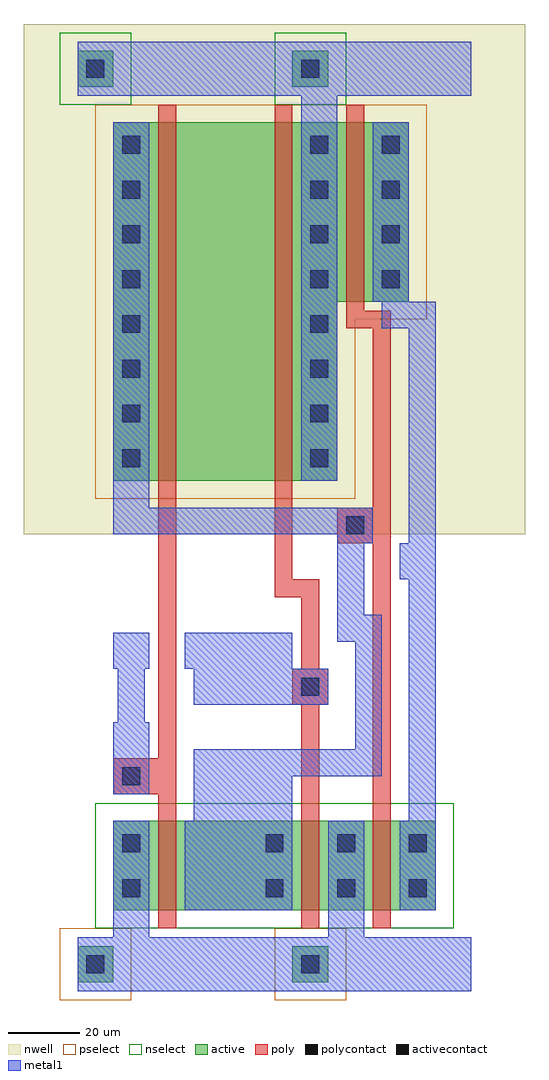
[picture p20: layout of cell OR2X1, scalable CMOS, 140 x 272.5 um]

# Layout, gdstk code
import gdstk
lib = gdstk.Library(unit=1e-6, precision=1e-09)
def R(c, l, rs):  # rectangles x0, y0, x1, y1
    for r in rs: c.add(gdstk.rectangle(r[:2], r[2:], *l))
def A(c, l, x, y, w, h, nx, ny, dx, dy):  # array of equal rectangles
    R(c, l, [(x+i*dx, y+j*dy, x+i*dx+w, y+j*dy+h) for i in range(nx) for j in range(ny)])
nwell = (42, 0)
active = (43, 0)
pselect = (44, 0)
nselect = (45, 0)
poly = (46, 0)
polycontact = (47, 0)
activecontact = (48, 0)
metal1 = (49, 0)

or2x1 = lib.new_cell('OR2X1')
R(or2x1, nwell, [(-20,120,120,262.5)])
R(or2x1, active, [(-5,-5,5,5), (55,-5,65,5), (5,15,95,40), (5,135,67.5,185), (5,185,87.5,235), (-5,245,5,255), (55,245,65,255)])
R(or2x1, pselect, [(-10,-10,10,10), (50,-10,70,10), (0,130,72.5,180), (0,180,92.5,240)])
R(or2x1, nselect, [(0,10,100,45), (-10,240,10,260), (50,240,70,260)])
R(or2x1, poly, [(17.5,10,22.5,47.5), (57.5,10,62.5,72.5), (77.5,10,82.5,117.5), (5,47.5,22.5,57.5), (17.5,57.5,22.5,240), (55,72.5,65,82.5), (57.5,82.5,62.5,102.5), (50,102.5,62.5,107.5), (50,107.5,55,240), (67.5,117.5,82.5,127.5), (77.5,127.5,82.5,177.5), (70,177.5,82.5,182.5), (70,182.5,75,240)])
R(or2x1, polycontact, [(7.5,50,12.5,55), (57.5,75,62.5,80), (70,120,75,125)])
A(or2x1, activecontact, 47.5, 18.75, 5, 5, 3, 2, 20, 12.5)
A(or2x1, activecontact, 7.5, 138.75, 5, 5, 1, 8, 0, 12.5)
A(or2x1, activecontact, 60, 138.75, 5, 5, 1, 8, 0, 12.5)
A(or2x1, activecontact, 80, 188.75, 5, 5, 1, 4, 0, 12.5)
R(or2x1, activecontact, [(-2.5,-2.5,2.5,2.5), (57.5,-2.5,62.5,2.5), (7.5,18.75,12.5,23.75), (7.5,31.25,12.5,36.25), (-2.5,247.5,2.5,252.5), (57.5,247.5,62.5,252.5)])
R(or2x1, metal1, [(-5,-7.5,105,7.5), (5,7.5,15,40), (65,7.5,75,40), (25,15,55,40), (85,15,95,40), (27.5,40,55,52.5), (87.5,40,95,107.5), (5,47.5,15,67.5), (27.5,52.5,80,60), (6.25,58.75,13.75,91.25), (72.5,60,80,90), (27.5,72.5,65,82.5), (5,82.5,15,92.5), (25,82.5,55,92.5), (67.5,90,80,97.5), (67.5,97.5,75,117.5), (85,107.5,95,117.5), (67.5,117.5,77.5,120), (87.5,117.5,95,177.5), (5,120,77.5,127.5), (5,127.5,15,235), (57.5,135,67.5,242.5), (80,177.5,95,185), (77.5,185,87.5,235), (-5,242.5,105,257.5)])

lib.write_gds('OR2X1.gds')
